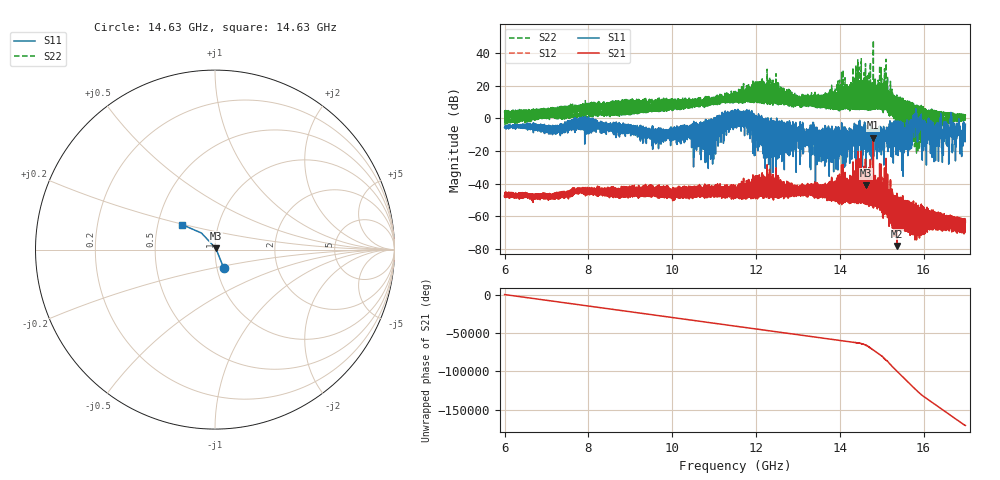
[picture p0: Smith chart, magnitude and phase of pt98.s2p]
#  HZ  S  RI  R  50.00
! Rohde & Schwarz Vector Network Analyzer
! Rohde-Schwarz,ZNA67-2Port,1332450062101215,3.01
! Created: UTC 10/19/2026, 11:44:22 AM
! freq[Hz]  re:S11  im:S11  re:S21  im:S21  re:S12  im:S12  re:S22  im:S22
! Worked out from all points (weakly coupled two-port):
!   11001 points, 6 GHz to 17 GHz, reference 50 ohm
!   highest |S21| = -11.75 dB at 14.8 GHz (marker M1); lowest = -78.3 dB at 15.37 GHz (marker M2)
!   lowest |S11| = -41.1 dB at 14.63 GHz (marker M3), VSWR 1.02, Z = 50.5 + j0.745 ohm
!   |S11| at or under -10 dB: 13.46866 GHz to 13.49467 GHz (26.01 MHz wide, 0.193 % of centre); 13.60951 GHz to 13.63376 GHz (24.25 MHz wide, 0.178 % of centre); 13.92237 GHz to 13.94843 GHz (26.05 MHz wide, 0.187 % of centre) (the widest 3 of 514)
!   |S22| runs from -21.2 to 47.9 dB; largest |S21 - S12| = 0.0065
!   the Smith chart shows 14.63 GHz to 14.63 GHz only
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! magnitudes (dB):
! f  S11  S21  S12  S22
! 6 GHz  -5.7  -47.9  -47.9  3.5
! 7.184 GHz  -4.6  -48.0  -47.8  2.7
! 7.834 GHz  -3.3  -43.1  -42.9  8.3
! 9.667 GHz  -6.1  -41.1  -41.3  12.3
! 10.87 GHz  -1.7  -47.4  -47.4  8.5
! 11.5 GHz  5.0  -46.1  -46.0  12.4
! 11.8 GHz  -6.2  -42.0  -42.2  17.7
! 12.36 GHz  -0.2  -41.2  -41.2  16.5
! 13.33 GHz  -12.4  -44.8  -44.7  9.7
! 13.52 GHz  -7.6  -47.4  -47.4  6.2
! 14.63 GHz  -41.1  -49.8  -49.8  9.8
! 14.8 GHz  -6.4  -11.8  -11.9  47.9
! 15.17 GHz  -14.3  -57.1  -57.0  5.5
! 15.37 GHz  -19.1  -78.3  -78.4  -0.3
! 15.68 GHz  -2.3  -54.4  -54.1  6.7
! 15.8 GHz  -5.7  -74.6  -73.9  -17.0
! 16.23 GHz  -8.7  -60.3  -60.2  3.2
! 16.69 GHz  -16.8  -62.3  -62.2  1.6
! 16.73 GHz  -3.8  -61.7  -61.8  2.6
! 16.83 GHz  -8.0  -62.2  -62.7  2.4
! 16.91 GHz  -18.2  -62.9  -62.9  2.1
! 17 GHz  -3.6  -63.8  -63.7  1.5
